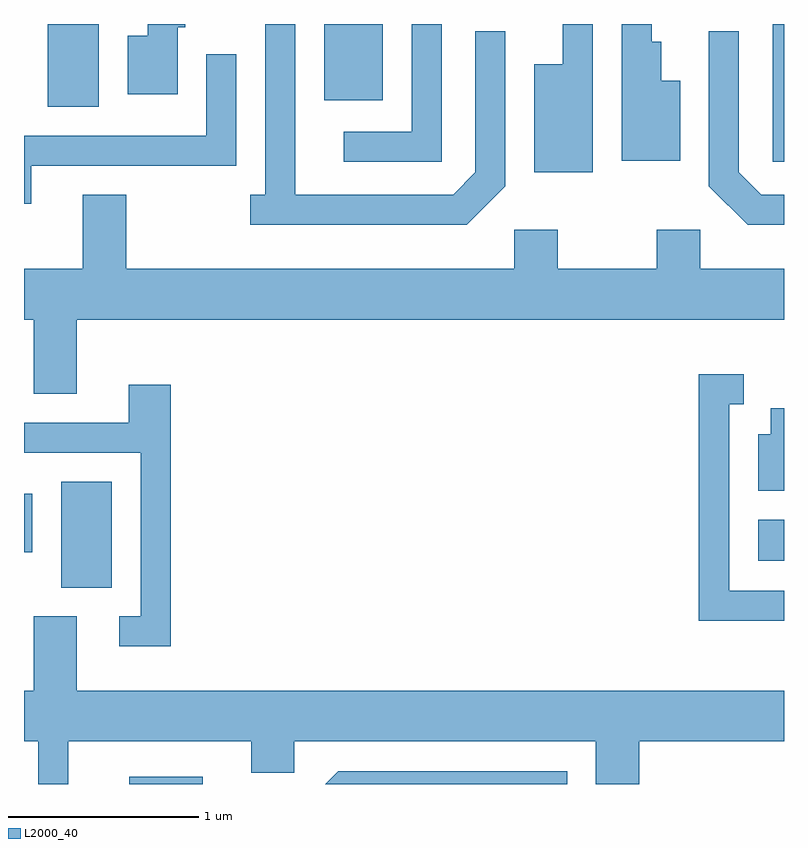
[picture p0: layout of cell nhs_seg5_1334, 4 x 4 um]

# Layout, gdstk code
import gdstk
lib = gdstk.Library(unit=1e-6, precision=1e-09)
def R(c, l, rs):  # rectangles x0, y0, x1, y1
    for r in rs: c.add(gdstk.rectangle(r[:2], r[2:], *l))
def P(c, l, *ps):  # polygons
    for p in ps: c.add(gdstk.Polygon(p, *l))
L2000_40 = (2000, 40)

nhs_seg5_1334 = lib.new_cell('nhs_seg5_1334')
R(nhs_seg5_1334, L2000_40, [(224.166,1512.072,224.553,1512.109), (223.806,1513.106,224.074,1513.664), (227.476,1513.246,227.611,1513.464), (223.611,1513.291,223.654,1513.599), (227.551,1515.346,227.611,1516.072), (223.736,1515.636,224.004,1516.072), (225.191,1515.671,225.499,1516.072)])
P(nhs_seg5_1334, L2000_40, [(227.064,1515.774),(226.964,1515.774),(226.964,1515.979),(226.914,1515.979),(226.914,1516.072),(226.756,1516.072),(226.756,1515.351),(227.064,1515.351)],
  [(226.604,1516.072),(226.446,1516.072),(226.446,1515.859),(226.296,1515.859),(226.296,1515.291),(226.604,1515.291)],
  [(225.809,1516.072),(225.651,1516.072),(225.651,1515.504),(225.293,1515.504),(225.293,1515.346),(225.809,1515.346)],
  [(224.419,1516.056),(224.459,1516.056),(224.459,1516.072),(224.261,1516.072),(224.261,1516.009),(224.156,1516.009),(224.156,1515.701),(224.419,1515.701)],
  [(226.144,1515.219),(226.144,1516.033),(225.986,1516.033),(225.986,1515.292),(225.869,1515.174),(225.039,1515.174),(225.039,1516.072),(224.881,1516.072),(224.881,1515.174),(224.803,1515.174),(224.803,1515.016),(225.942,1515.016)],
  [(227.611,1515.174),(227.492,1515.174),(227.374,1515.292),(227.374,1516.033),(227.216,1516.033),(227.216,1515.219),(227.419,1515.016),(227.611,1515.016)],
  [(223.649,1515.326),(224.729,1515.326),(224.729,1515.913),(224.571,1515.913),(224.571,1515.484),(223.611,1515.484),(223.611,1515.126),(223.649,1515.126)],
  [(223.889,1514.516),(227.611,1514.516),(227.611,1514.784),(227.169,1514.784),(227.169,1514.989),(226.941,1514.989),(226.941,1514.784),(226.419,1514.784),(226.419,1514.989),(226.191,1514.989),(226.191,1514.784),(224.149,1514.784),(224.149,1515.174),(223.921,1515.174),(223.921,1514.784),(223.611,1514.784),(223.611,1514.516),(223.661,1514.516),(223.661,1514.126),(223.889,1514.126)],
  [(227.611,1513.089),(227.324,1513.089),(227.324,1514.071),(227.398,1514.071),(227.398,1514.229),(227.161,1514.229),(227.161,1512.931),(227.611,1512.931)],
  [(224.384,1514.174),(224.161,1514.174),(224.161,1513.974),(223.611,1513.974),(223.611,1513.816),(224.226,1513.816),(224.226,1512.954),(224.113,1512.954),(224.113,1512.796),(224.384,1512.796)],
  [(227.611,1514.049),(227.541,1514.049),(227.541,1513.914),(227.476,1513.914),(227.476,1513.616),(227.611,1513.616)],
  [(223.844,1512.296),(224.806,1512.296),(224.806,1512.131),(225.034,1512.131),(225.034,1512.296),(226.621,1512.296),(226.621,1512.072),(226.849,1512.072),(226.849,1512.296),(227.611,1512.296),(227.611,1512.564),(223.889,1512.564),(223.889,1512.954),(223.661,1512.954),(223.661,1512.564),(223.611,1512.564),(223.611,1512.296),(223.686,1512.296),(223.686,1512.072),(223.844,1512.072)],
  [(226.469,1512.139),(225.264,1512.139),(225.197,1512.072),(226.469,1512.072)])

lib.write_gds('nhs_seg5_1334.gds')
